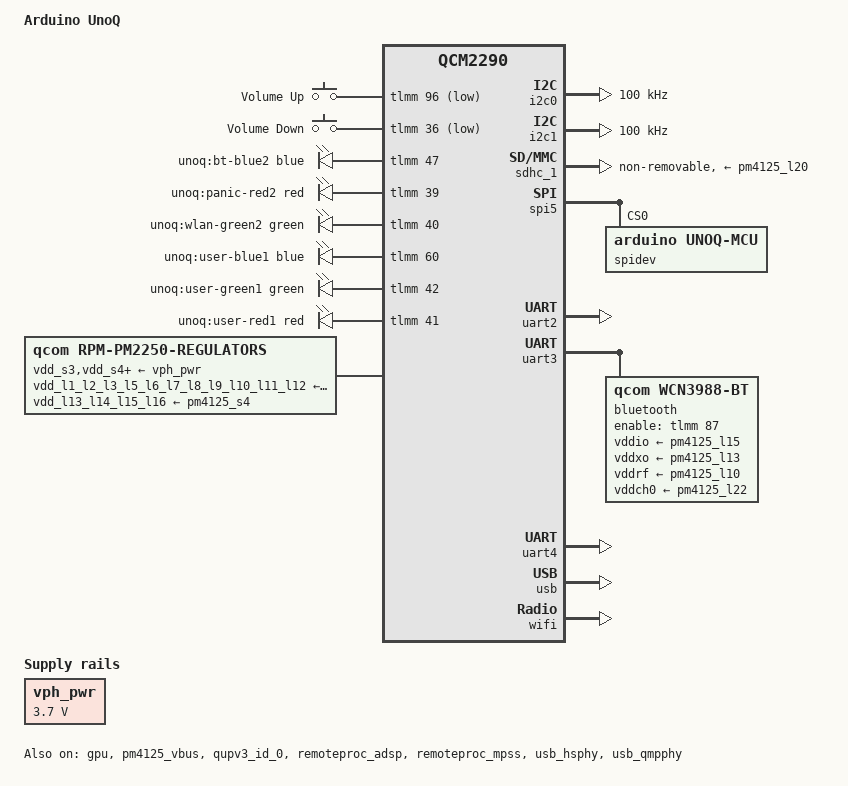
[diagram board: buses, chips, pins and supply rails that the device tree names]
// SPDX-License-Identifier: (GPL-2.0+ OR BSD-3-Clause)
/*
 * Copyright (c) 2025, Arduino SRL
 */

/dts-v1/;

#include <dt-bindings/leds/common.h>
#include "agatti.dtsi"
#include "pm4125.dtsi"

/delete-node/ &cont_splash_memory;

/ {
	model = "Arduino UnoQ";
	compatible = "arduino,imola", "qcom,qrb2210", "qcom,qcm2290";
	chassis-type = "embedded";

	aliases {
		serial0 = &uart4;
		serial1 = &uart2;
		serial2 = &uart3;
		sdhc1 = &sdhc_1;
	};

	chosen {
		stdout-path = "serial0:115200n8";
	};

	gpio-keys {
		compatible = "gpio-keys";
		label = "gpio-keys";
		pinctrl-0 = <&key_volp_n>, <&key_vold_n>;
		pinctrl-names = "default";

		key-volume-up {
			label = "Volume Up";
			linux,code = <KEY_VOLUMEUP>;
			gpios = <&tlmm 96 GPIO_ACTIVE_LOW>;
			debounce-interval = <15>;
			linux,can-disable;
			wakeup-source;
		};

		key-volume-down {
			label = "Volume Down";
			linux,code = <KEY_VOLUMEDOWN>;
			gpios = <&tlmm 36 GPIO_ACTIVE_LOW>;
			debounce-interval = <15>;
			linux,can-disable;
			wakeup-source;
		};
	};

	leds: leds {
		compatible = "gpio-leds";

		led-bt {
			label = "unoq:bt-blue2";
			function = LED_FUNCTION_BLUETOOTH;
			color = <LED_COLOR_ID_BLUE>;
			gpios = <&tlmm 47 GPIO_ACTIVE_HIGH>;
			linux,default-trigger = "bluetooth-power";
			default-state = "off";
		};

		led-panic {
			label = "unoq:panic-red2";
			function = LED_FUNCTION_INDICATOR;
			color = <LED_COLOR_ID_RED>;
			gpios = <&tlmm 39 GPIO_ACTIVE_HIGH>;
			linux,default-trigger = "none";
			default-state = "off";
			panic-indicator;
		};

		led-wlan {
			label = "unoq:wlan-green2";
			function = LED_FUNCTION_WLAN;
			color = <LED_COLOR_ID_GREEN>;
			gpios = <&tlmm 40 GPIO_ACTIVE_HIGH>;
			linux,default-trigger = "phy0tx";
			default-state = "off";
		};

		ledb: led-user-blue {
			label = "unoq:user-blue1";
			gpios = <&tlmm 60 GPIO_ACTIVE_HIGH>;
			color = <LED_COLOR_ID_BLUE>;
		};

		ledg: led-user-green {
			label = "unoq:user-green1";
			gpios = <&tlmm 42 GPIO_ACTIVE_HIGH>;
			color = <LED_COLOR_ID_GREEN>;
		};

		ledr: led-user-red {
			label = "unoq:user-red1";
			gpios = <&tlmm 41 GPIO_ACTIVE_HIGH>;
			color = <LED_COLOR_ID_RED>;
		};
	};

	multi-led {
		compatible = "leds-group-multicolor";
		color = <LED_COLOR_ID_RGB>;
		function = LED_FUNCTION_INDICATOR;
		leds = <&ledr>, <&ledg>, <&ledb>;
	};

	/* PM4125 charger out, supplied by VBAT */
	vph_pwr: regulator-vph-pwr {
		compatible = "regulator-fixed";
		regulator-name = "vph_pwr";
		regulator-min-microvolt = <3700000>;
		regulator-max-microvolt = <3700000>;
		regulator-always-on;
		regulator-boot-on;
	};
};

&gpi_dma0 {
	status = "okay";
};

&gpu {
	status = "okay";
};

&gpu_zap_shader {
	firmware-name = "qcom/qcm2290/a702_zap.mbn";
};

&i2c0 {
	clock-frequency = <100000>;

	status = "okay";
};

&i2c1 {
	clock-frequency = <100000>;

	status = "okay";
};

&pm4125_vbus {
	regulator-min-microamp = <500000>;
	regulator-max-microamp = <500000>;

	status = "okay";
};

&qupv3_id_0 {
	status = "okay";
};

&remoteproc_adsp {
	firmware-name = "qcom/qcm2290/adsp.mbn";

	status = "okay";
};

&remoteproc_mpss {
	firmware-name = "qcom/qcm2290/modem.mbn";

	status = "okay";
};

&rpm_requests {
	regulators {
		compatible = "qcom,rpm-pm2250-regulators";
		vdd_s3-supply = <&vph_pwr>;
		vdd_s4-supply = <&vph_pwr>;
		vdd_l1_l2_l3_l5_l6_l7_l8_l9_l10_l11_l12-supply = <&pm4125_s3>;
		vdd_l4_l17_l18_l19_l20_l21_l22-supply = <&vph_pwr>;
		vdd_l13_l14_l15_l16-supply = <&pm4125_s4>;

		pm4125_s3: s3 {
			/* 0.4V-1.6625V -> 1.3V (Power tree requirements) */
			regulator-min-microvolt = <1352000>;
			regulator-max-microvolt = <1352000>;
			regulator-boot-on;
		};

		pm4125_s4: s4 {
			/* 1.2V-2.35V -> 2.05V (Power tree requirements) */
			regulator-min-microvolt = <2072000>;
			regulator-max-microvolt = <2072000>;
			regulator-boot-on;
		};

		pm4125_l2: l2 {
			/* LPDDR4X VDD2 */
			regulator-min-microvolt = <1136000>;
			regulator-max-microvolt = <1136000>;
			regulator-always-on;
			regulator-boot-on;
		};

		pm4125_l3: l3 {
			/* LPDDR4X VDDQ */
			regulator-min-microvolt = <616000>;
			regulator-max-microvolt = <616000>;
			regulator-always-on;
			regulator-boot-on;
		};

		pm4125_l4: l4 {
			/* max = 3.05V -> max = 2.7 to disable 3V signaling (SDHCI2) */
			regulator-min-microvolt = <1800000>;
			regulator-max-microvolt = <2700000>;
			regulator-allow-set-load;
		};

		pm4125_l5: l5 {
			/* CSI/DSI */
			regulator-min-microvolt = <1232000>;
			regulator-max-microvolt = <1232000>;
			regulator-allow-set-load;
			regulator-boot-on;
		};

		pm4125_l6: l6 {
			/* DRAM PLL */
			regulator-min-microvolt = <928000>;
			regulator-max-microvolt = <928000>;
			regulator-always-on;
			regulator-boot-on;
		};

		pm4125_l7: l7 {
			/* Wi-Fi CX */
			regulator-min-microvolt = <664000>;
			regulator-max-microvolt = <664000>;
		};

		pm4125_l10: l10 {
			/* Wi-Fi RFA */
			regulator-min-microvolt = <1304000>;
			regulator-max-microvolt = <1304000>;
		};

		pm4125_l11: l11 {
			/* ANX7625 DVDD1P0V/AVDD1P0V */
			regulator-min-microvolt = <1000000>;
			regulator-max-microvolt = <1000000>;
			regulator-boot-on;
			regulator-always-on;
		};

		pm4125_l12: l12 {
			/* USB PHYs */
			regulator-min-microvolt = <928000>;
			regulator-max-microvolt = <928000>;
			regulator-allow-set-load;
			regulator-boot-on;
		};

		pm4125_l13: l13 {
			/* USB/QFPROM/PLLs */
			regulator-min-microvolt = <1800000>;
			regulator-max-microvolt = <1800000>;
			regulator-allow-set-load;
			regulator-boot-on;
		};

		pm4125_l14: l14 {
			/* SDHCI1 EMMC VCCQ */
			regulator-min-microvolt = <1800000>;
			regulator-max-microvolt = <1800000>;
			regulator-allow-set-load;
			/* Broken hardware, never turn it off! */
			regulator-always-on;
		};

		pm4125_l15: l15 {
			/* VDDIO */
			regulator-min-microvolt = <1800000>;
			regulator-max-microvolt = <1800000>;
			regulator-allow-set-load;
			regulator-always-on;
			regulator-boot-on;
		};

		pm4125_l20: l20 {
			/* SDHCI1 EMMC */
			regulator-min-microvolt = <2400000>;
			regulator-max-microvolt = <3600000>;
			regulator-allow-set-load;
		};

		pm4125_l21: l21 {
			/* USB HS */
			regulator-min-microvolt = <2960000>;
			regulator-max-microvolt = <3300000>;
			regulator-allow-set-load;
			regulator-boot-on;
		};

		pm4125_l22: l22 {
			/* Wi-Fi VDD */
			regulator-min-microvolt = <3312000>;
			regulator-max-microvolt = <3312000>;
		};
	};
};

&sdhc_1 {
	vmmc-supply = <&pm4125_l20>;
	vqmmc-supply = <&pm4125_l14>;
	pinctrl-0 = <&sdc1_state_on>;
	pinctrl-1 = <&sdc1_state_off>;
	pinctrl-names = "default", "sleep";
	mmc-hs400-1_8v;
	mmc-hs200-1_8v;
	non-removable;
	supports-cqe;
	no-sdio;
	no-sd;

	status = "okay";
};

&spi5 {
	status = "okay";

	spidev@0 {
		reg = <0>;
		compatible = "arduino,unoq-mcu";
		pinctrl-0 = <&spidev_cs>;
		pinctrl-names = "default";
	};
};

&tlmm {
	spidev_cs: spidev-cs-state {
		pins = "gpio17";
		function = "gpio";
		drive-strength = <16>;
	};

	jmisc_gpio18: jmisc-gpio18-state {
		pins = "gpio18";
		function = "gpio";
		drive-strength = <2>;
		bias-pull-down;
	};

	jmisc_gpio28: jmisc-gpio28-state {
		pins = "gpio28";
		function = "gpio";
		drive-strength = <2>;
		bias-pull-down;
	};

	key_vold_n: key-vold-n-state {
		pins = "gpio36";
		function = "gpio";
		bias-pull-up;
		output-disable;
	};

	key_volp_n: key-volp-n-state {
		pins = "gpio96";
		function = "gpio";
		bias-pull-up;
		output-disable;
	};

	jmisc_gpio98: jmisc-gpio98-state {
		pins = "gpio98";
		function = "gpio";
		drive-strength = <2>;
		bias-pull-down;
	};

	jmisc_gpio99: jmisc-gpio99-state {
		pins = "gpio99";
		function = "gpio";
		drive-strength = <2>;
		bias-pull-down;
	};

	jmisc_gpio100: jmisc-gpio100-state {
		pins = "gpio100";
		function = "gpio";
		drive-strength = <2>;
		bias-pull-down;
	};

	jmisc_gpio101: jmisc-gpio101-state {
		pins = "gpio101";
		function = "gpio";
		drive-strength = <2>;
		bias-pull-down;
	};
};

&uart2 {
	status = "okay";
};

/* UART connected to Bluetooth */
&uart3 {
	status = "okay";

	bluetooth {
		compatible = "qcom,wcn3988-bt";

		vddio-supply = <&pm4125_l15>;
		vddxo-supply = <&pm4125_l13>;
		vddrf-supply = <&pm4125_l10>;
		vddch0-supply = <&pm4125_l22>;
		enable-gpios = <&tlmm 87 GPIO_ACTIVE_HIGH>;
		max-speed = <3000000>;
	};
};

/* UART exposed in JCTL */
&uart4 {
	compatible = "qcom,geni-debug-uart";

	status = "okay";
};

&usb {
	status = "okay";
};

&usb_hsphy {
	vdd-supply = <&pm4125_l12>;
	vdda-pll-supply = <&pm4125_l13>;
	vdda-phy-dpdm-supply = <&pm4125_l21>;

	status = "okay";
};

&usb_qmpphy {
	vdda-phy-supply = <&pm4125_l12>;
	vdda-pll-supply = <&pm4125_l13>;

	status = "okay";
};

&wifi {
	vdd-0.8-cx-mx-supply = <&pm4125_l7>;
	vdd-1.8-xo-supply = <&pm4125_l13>;
	vdd-1.3-rfa-supply = <&pm4125_l10>;
	vdd-3.3-ch0-supply = <&pm4125_l22>;
	qcom,ath10k-calibration-variant = "ArduinoImola";
	firmware-name = "qcm2290";

	status = "okay";
};

&xo_board {
	clock-frequency = <38400000>;
};
